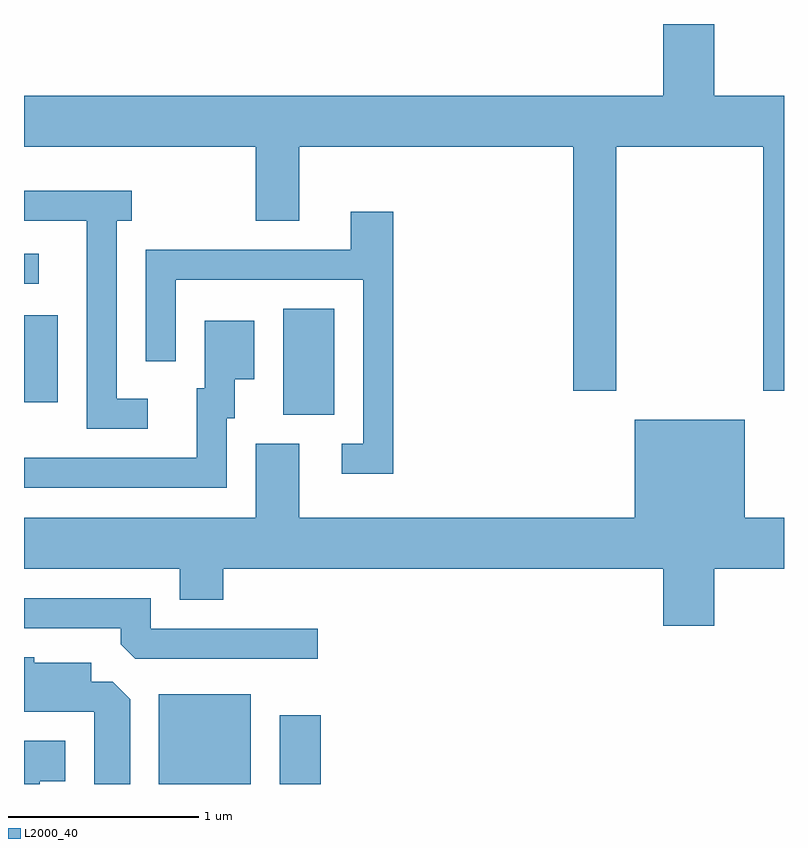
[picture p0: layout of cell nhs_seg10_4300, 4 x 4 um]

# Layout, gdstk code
import gdstk
lib = gdstk.Library(unit=1e-6, precision=1e-09)
def R(c, l, rs):  # rectangles x0, y0, x1, y1
    for r in rs: c.add(gdstk.rectangle(r[:2], r[2:], *l))
def P(c, l, *ps):  # polygons
    for p in ps: c.add(gdstk.Polygon(p, *l))
L2000_40 = (2000, 40)

nhs_seg10_4300 = lib.new_cell('nhs_seg10_4300')
R(nhs_seg10_4300, L2000_40, [(312.321,2150.522,312.804,2150.994), (312.956,2150.522,313.174,2150.884), (312.976,2152.466,313.244,2153.024), (311.611,2152.531,311.789,2152.989), (311.611,2153.156,311.688,2153.314)])
P(nhs_seg10_4300, L2000_40, [(314.729,2153.876),(315.501,2153.876),(315.501,2152.591),(315.611,2152.591),(315.611,2154.144),(315.244,2154.144),(315.244,2154.522),(314.976,2154.522),(314.976,2154.144),(311.611,2154.144),(311.611,2153.876),(312.831,2153.876),(312.831,2153.486),(313.059,2153.486),(313.059,2153.876),(314.501,2153.876),(314.501,2152.591),(314.729,2152.591)],
  [(312.263,2152.549),(312.099,2152.549),(312.099,2153.486),(312.178,2153.486),(312.178,2153.644),(311.611,2153.644),(311.611,2153.486),(311.941,2153.486),(311.941,2152.391),(312.263,2152.391)],
  [(313.554,2153.534),(313.331,2153.534),(313.331,2153.334),(312.251,2153.334),(312.251,2152.748),(312.409,2152.748),(312.409,2153.176),(313.396,2153.176),(313.396,2152.314),(313.283,2152.314),(313.283,2152.156),(313.554,2152.156)],
  [(312.679,2152.446),(312.719,2152.446),(312.719,2152.651),(312.824,2152.651),(312.824,2152.959),(312.561,2152.959),(312.561,2152.604),(312.521,2152.604),(312.521,2152.239),(311.611,2152.239),(311.611,2152.081),(312.679,2152.081)],
  [(315.244,2151.656),(315.611,2151.656),(315.611,2151.924),(315.404,2151.924),(315.404,2152.439),(314.826,2152.439),(314.826,2151.924),(313.059,2151.924),(313.059,2152.314),(312.831,2152.314),(312.831,2151.924),(311.611,2151.924),(311.611,2151.656),(312.431,2151.656),(312.431,2151.491),(312.659,2151.491),(312.659,2151.656),(314.976,2151.656),(314.976,2151.356),(315.244,2151.356)],
  [(313.158,2151.339),(312.279,2151.339),(312.279,2151.499),(311.611,2151.499),(311.611,2151.341),(312.121,2151.341),(312.121,2151.257),(312.197,2151.181),(313.158,2151.181)],
  [(312.169,2150.969),(312.079,2151.059),(311.964,2151.059),(311.964,2151.159),(311.664,2151.159),(311.664,2151.189),(311.611,2151.189),(311.611,2150.901),(311.981,2150.901),(311.981,2150.522),(312.169,2150.522)],
  [(311.694,2150.536),(311.829,2150.536),(311.829,2150.749),(311.611,2150.749),(311.611,2150.522),(311.694,2150.522)])

lib.write_gds('nhs_seg10_4300.gds')
